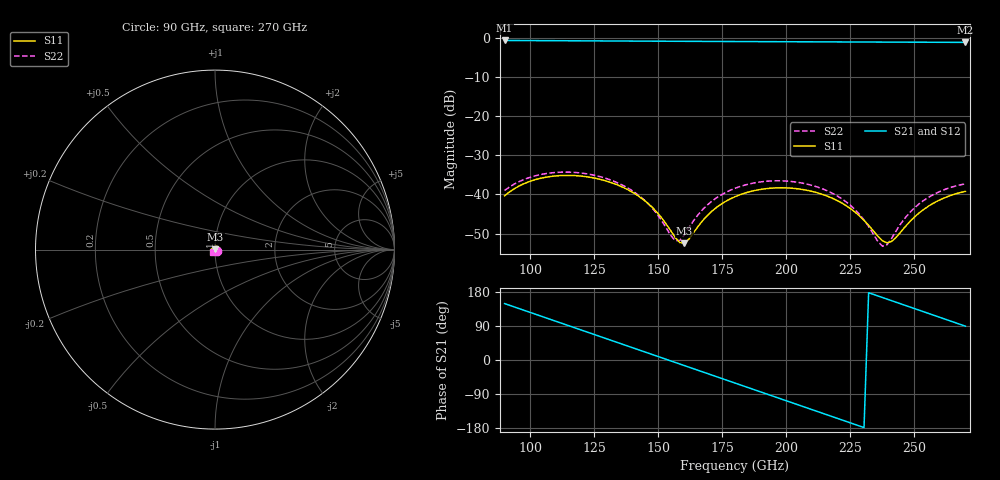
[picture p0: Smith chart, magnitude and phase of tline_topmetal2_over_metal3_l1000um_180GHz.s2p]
#  GHZ S DB R 50
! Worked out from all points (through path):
!   101 points, 90 GHz to 270 GHz, reference 50 ohm
!   highest |S21| = -0.75 dB at 90 GHz (marker M1); lowest = -1.2 dB at 270 GHz (marker M2)
!   group delay of S21, straight-line fit = 6.47 ps
!   lowest |S11| = -52.4 dB at 160.2 GHz (marker M3), VSWR 1.00, Z = 50.2 + j0.159 ohm
!   |S11| at or under -10 dB: start of sweep to end of sweep
!   |S22| runs from -53.2 to -34.3 dB; largest |S21 - S12| = 1.1e-14
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90  -40.36 -30.0  -0.75 148.9  -0.75 148.9  -38.98 -30.0
97.2  -37.37 -52.1  -0.78 132.1  -0.78 132.1  -36.28 -51.4
106.2  -35.60 -77.9  -0.81 111.1  -0.81 111.1  -34.68 -76.7
120.6  -35.37 -118.6  -0.85 77.6  -0.85 77.6  -34.60 -116.7
129.6  -36.56 -144.7  -0.88 56.6  -0.88 56.6  -35.91 -142.4
138.6  -38.95 -172.4  -0.91 35.6  -0.91 35.6  -38.54 -169.8
145.8  -42.16 162.2  -0.93 18.9  -0.93 18.9  -42.17 164.3
151.2  -45.84 137.4  -0.95 6.3  -0.95 6.3  -46.53 136.3
156.6  -50.94 93.6  -0.96 -6.3  -0.96 -6.3  -51.76 76.4
160.2  -52.42 41.3  -0.97 -14.7  -0.97 -14.7  -50.33 20.6
169.2  -45.37 -39.0  -1.00 -35.7  -1.00 -35.7  -42.68 -39.6
180  -40.58 -80.9  -1.02 -60.8  -1.02 -60.8  -38.43 -76.9
194.4  -38.39 -126.1  -1.06 -94.4  -1.06 -94.4  -36.55 -119.4
201.6  -38.38 -148.0  -1.08 -111.2  -1.08 -111.2  -36.67 -140.1
210.6  -39.30 -175.7  -1.10 -132.2  -1.10 -132.2  -37.78 -166.3
225  -43.56 134.5  -1.14 -165.7  -1.14 -165.7  -42.72 146.8
237.6  -51.80 50.1  -1.17 164.9  -1.17 164.9  -53.18 47.4
241.2  -51.97 3.3  -1.18 156.5  -1.18 156.5  -51.16 -7.7
246.6  -48.15 -47.2  -1.19 143.9  -1.19 143.9  -45.86 -48.8
253.8  -43.78 -83.9  -1.20 127.1  -1.20 127.1  -41.50 -78.5
262.8  -40.61 -116.5  -1.22 106.1  -1.22 106.1  -38.53 -107.3
270  -39.22 -139.7  -1.24 89.3  -1.24 89.3  -37.30 -128.4
